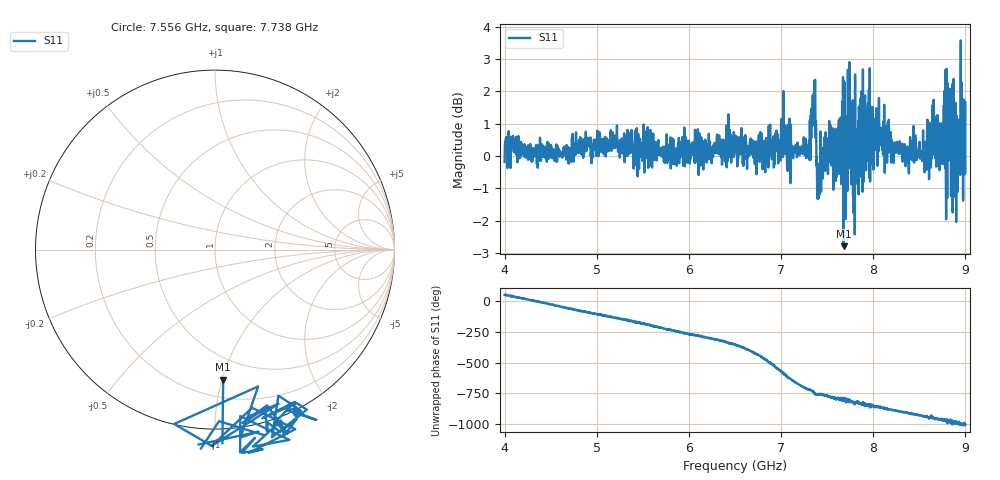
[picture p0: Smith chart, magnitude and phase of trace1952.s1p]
! Created with skrf 1.8.0 (http://scikit-rf.org).
# Hz S RI R 50.0
!freq ReS11 ImS11
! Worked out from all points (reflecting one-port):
!   1601 points, 4 GHz to 9 GHz, reference 50 ohm
!   lowest |S11| = -2.8 dB at 7.678 GHz (marker M1), VSWR 6.28, Z = 16.5 - j50.5 ohm
!   phase of S11 starts at 49 deg and turns -1053 deg over the sweep
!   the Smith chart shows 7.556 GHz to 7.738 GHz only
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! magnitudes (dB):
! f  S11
! 4 GHz  -0.2
! 4.625 GHz  0.0
! 5.25 GHz  0.0
! 5.875 GHz  0.1
! 6.5 GHz  0.3
! 6.819 GHz  0.2
! 7.025 GHz  2.0
! 7.125 GHz  0.2
! 7.294 GHz  0.0
! 7.347 GHz  1.0
! 7.409 GHz  -1.3
! 7.525 GHz  1.0
! 7.578 GHz  -0.3
! 7.65 GHz  0.8
! 7.678 GHz  -2.8
! 7.75 GHz  -0.2
! 7.775 GHz  1.6
! 7.928 GHz  1.1
! 7.981 GHz  -0.2
! 8.097 GHz  0.2
! 8.375 GHz  -0.1
! 8.556 GHz  -0.5
! 8.656 GHz  1.7
! 8.766 GHz  1.6
! 8.834 GHz  2.1
! 8.919 GHz  -0.3
! 8.972 GHz  0.3
! 9 GHz  -0.5
